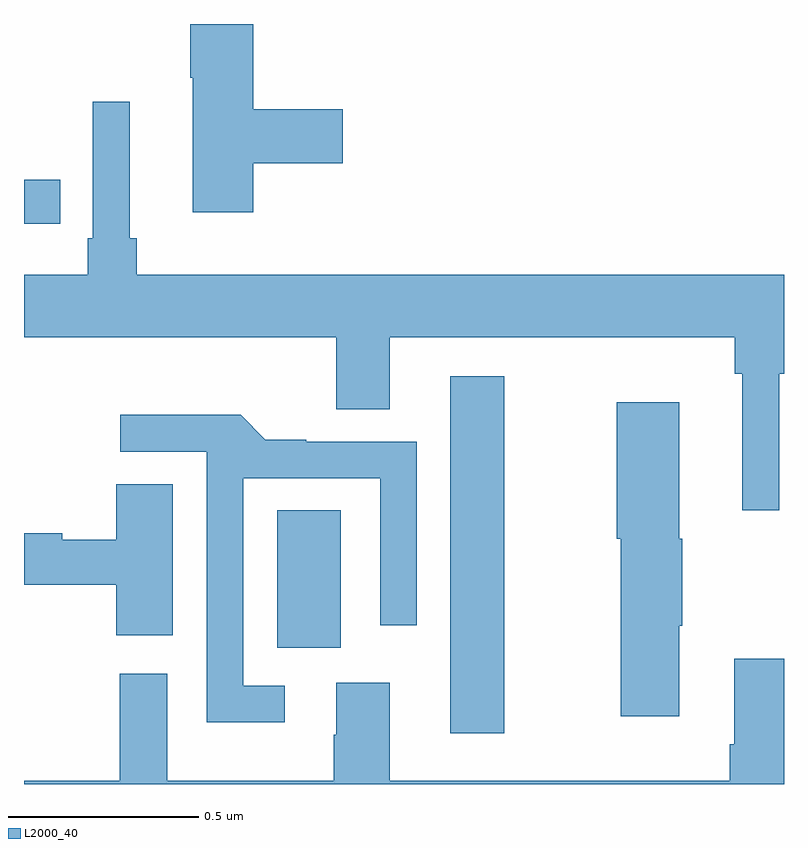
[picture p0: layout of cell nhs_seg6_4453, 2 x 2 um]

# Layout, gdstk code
import gdstk
lib = gdstk.Library(unit=1e-6, precision=1e-09)
def R(c, l, rs):  # rectangles x0, y0, x1, y1
    for r in rs: c.add(gdstk.rectangle(r[:2], r[2:], *l))
def P(c, l, *ps):  # polygons
    for p in ps: c.add(gdstk.Polygon(p, *l))
L2000_40 = (2000, 40)

nhs_seg6_4453 = lib.new_cell('nhs_seg6_4453')
R(nhs_seg6_4453, L2000_40, [(171.122,939.633,171.264,940.573), (170.666,939.858,170.833,940.22), (170,940.974,170.096,941.09)])
P(nhs_seg6_4453, L2000_40, [(170.603,941.134),(170.839,941.134),(170.839,941.276),(170.603,941.276),(170.603,941.5),(170.437,941.5),(170.437,941.359),(170.444,941.359),(170.444,941.004),(170.603,941.004)],
  [(171.987,940.58),(172,940.58),(172,940.84),(170.297,940.84),(170.297,940.936),(170.278,940.936),(170.278,941.296),(170.181,941.296),(170.181,940.936),(170.168,940.936),(170.168,940.84),(170,940.84),(170,940.676),(170.822,940.676),(170.822,940.486),(170.962,940.486),(170.962,940.676),(171.871,940.676),(171.871,940.58),(171.89,940.58),(171.89,940.221),(171.987,940.221)],
  [(171.724,939.916),(171.732,939.916),(171.732,940.146),(171.724,940.146),(171.724,940.504),(171.56,940.504),(171.56,940.146),(171.571,940.146),(171.571,939.678),(171.724,939.678)],
  [(170.686,939.759),(170.577,939.759),(170.577,940.305),(170.937,940.305),(170.937,939.918),(171.033,939.918),(171.033,940.401),(170.743,940.401),(170.743,940.406),(170.635,940.406),(170.57,940.472),(170.253,940.472),(170.253,940.374),(170.481,940.374),(170.481,939.662),(170.686,939.662)],
  [(170.392,940.289),(170.243,940.289),(170.243,940.143),(170.1,940.143),(170.1,940.16),(170,940.16),(170,940.024),(170.243,940.024),(170.243,939.891),(170.392,939.891)],
  [(172,939.829),(171.869,939.829),(171.869,939.604),(171.857,939.604),(171.857,939.508),(170.962,939.508),(170.962,939.766),(170.822,939.766),(170.822,939.629),(170.815,939.629),(170.815,939.508),(170.377,939.508),(170.377,939.79),(170.252,939.79),(170.252,939.508),(170,939.508),(170,939.5),(172,939.5)])

lib.write_gds('nhs_seg6_4453.gds')
